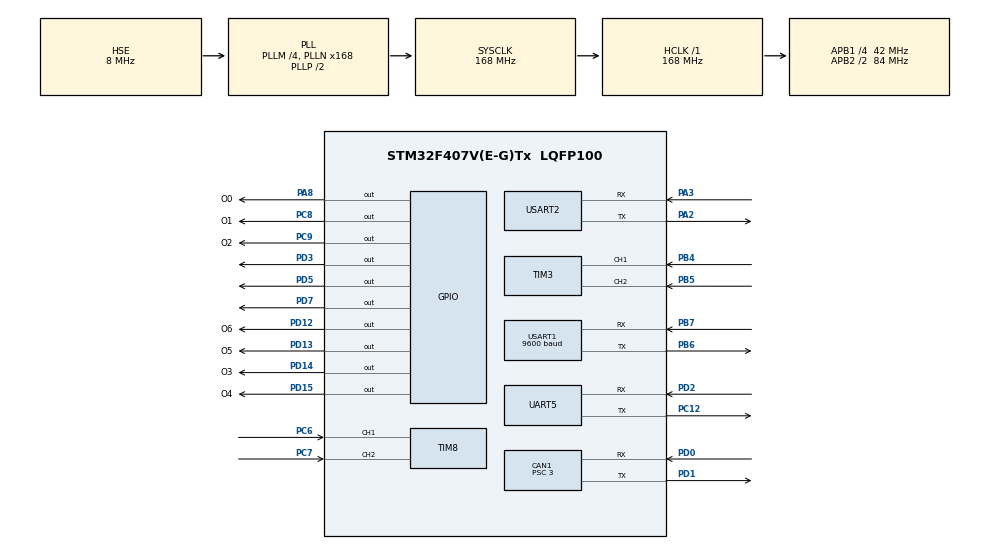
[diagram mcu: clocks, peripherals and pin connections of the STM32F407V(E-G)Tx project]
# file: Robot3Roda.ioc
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CAN1.BS1=CAN_BS1_11TQ
CAN1.BS2=CAN_BS2_2TQ
CAN1.CalculateBaudRate=1000000
CAN1.CalculateTimeBit=999.99
CAN1.CalculateTimeQuantum=71.42857142857143
CAN1.Prescaler=3
Dma.Request0=UART5_RX
Dma.Request1=USART2_RX
Dma.Request2=USART1_RX
Dma.UART5_RX.0.Direction=DMA_PERIPH_TO_MEMORY
Dma.UART5_RX.0.FIFOMode=DMA_FIFOMODE_DISABLE
Dma.UART5_RX.0.Instance=DMA1_Stream0
Dma.UART5_RX.0.MemDataAlignment=DMA_MDATAALIGN_BYTE
Dma.UART5_RX.0.MemInc=DMA_MINC_ENABLE
Dma.UART5_RX.0.Mode=DMA_NORMAL
Dma.UART5_RX.0.PeriphDataAlignment=DMA_PDATAALIGN_BYTE
Dma.UART5_RX.0.PeriphInc=DMA_PINC_DISABLE
Dma.UART5_RX.0.Priority=DMA_PRIORITY_LOW
Dma.USART1_RX.2.Direction=DMA_PERIPH_TO_MEMORY
Dma.USART1_RX.2.FIFOMode=DMA_FIFOMODE_DISABLE
Dma.USART1_RX.2.Instance=DMA2_Stream2
Dma.USART1_RX.2.MemDataAlignment=DMA_MDATAALIGN_BYTE
Dma.USART1_RX.2.MemInc=DMA_MINC_ENABLE
Dma.USART1_RX.2.Mode=DMA_CIRCULAR
Dma.USART1_RX.2.PeriphDataAlignment=DMA_PDATAALIGN_BYTE
Dma.USART1_RX.2.PeriphInc=DMA_PINC_DISABLE
Dma.USART1_RX.2.Priority=DMA_PRIORITY_LOW
Dma.USART2_RX.1.Direction=DMA_PERIPH_TO_MEMORY
Dma.USART2_RX.1.FIFOMode=DMA_FIFOMODE_DISABLE
Dma.USART2_RX.1.Instance=DMA1_Stream5
Dma.USART2_RX.1.MemDataAlignment=DMA_MDATAALIGN_BYTE
Dma.USART2_RX.1.MemInc=DMA_MINC_ENABLE
Dma.USART2_RX.1.Mode=DMA_CIRCULAR
Dma.USART2_RX.1.PeriphDataAlignment=DMA_PDATAALIGN_BYTE
Dma.USART2_RX.1.PeriphInc=DMA_PINC_DISABLE
Dma.USART2_RX.1.Priority=DMA_PRIORITY_LOW
Mcu.Family=STM32F4
Mcu.Name=STM32F407V(E-G)Tx
Mcu.Package=LQFP100
NVIC.CAN1_RX0_IRQn=true\:0\:0\:false\:false\:true\:true\:true
NVIC.DMA1_Stream0_IRQn=true\:0\:0\:false\:false\:true\:false\:true
NVIC.DMA1_Stream5_IRQn=true\:0\:0\:false\:false\:true\:false\:true
NVIC.DMA2_Stream2_IRQn=true\:0\:0\:false\:false\:true\:false\:true
NVIC.PriorityGroup=NVIC_PRIORITYGROUP_4
NVIC.TIM6_DAC_IRQn=true\:0\:0\:false\:false\:true\:true\:true
NVIC.UART5_IRQn=true\:0\:0\:false\:false\:true\:true\:true
NVIC.USART2_IRQn=true\:0\:0\:false\:false\:true\:true\:true
PA2.Mode=Asynchronous
PA2.Signal=USART2_TX
PA3.Mode=Asynchronous
PA3.Signal=USART2_RX
PA8.GPIO_Label=O0
PA8.Signal=GPIO_Output
PB4.Signal=S_TIM3_CH1
PB5.Signal=S_TIM3_CH2
PB6.Mode=Asynchronous
PB6.Signal=USART1_TX
PB7.Mode=Asynchronous
PB7.Signal=USART1_RX
PC12.Mode=Asynchronous
PC12.Signal=UART5_TX
PC6.Signal=S_TIM8_CH1
PC7.Signal=S_TIM8_CH2
PC8.GPIO_Label=O1
PC8.Signal=GPIO_Output
PC9.GPIO_Label=O2
PC9.Signal=GPIO_Output
PD0.Mode=CAN_Activate
PD0.Signal=CAN1_RX
PD1.Mode=CAN_Activate
PD1.Signal=CAN1_TX
PD12.GPIO_Label=O6
PD12.Signal=GPIO_Output
PD13.GPIO_Label=O5
PD13.Signal=GPIO_Output
PD14.GPIO_Label=O3
PD14.Signal=GPIO_Output
PD15.GPIO_Label=O4
PD15.Signal=GPIO_Output
PD2.Mode=Asynchronous
PD2.Signal=UART5_RX
PD3.Signal=GPIO_Output
PD5.Signal=GPIO_Output
PD7.Signal=GPIO_Output
PH0-OSC_IN.Mode=HSE-External-Oscillator
PH0-OSC_IN.Signal=RCC_OSC_IN
PH1-OSC_OUT.Mode=HSE-External-Oscillator
PH1-OSC_OUT.Signal=RCC_OSC_OUT
ProjectManager.HeapSize=0x200
ProjectManager.StackSize=0x400
ProjectManager.TargetToolchain=STM32CubeIDE
RCC.48MHZClocksFreq_Value=84000000
RCC.AHBFreq_Value=168000000
RCC.APB1CLKDivider=RCC_HCLK_DIV4
RCC.APB1Freq_Value=42000000
RCC.APB1TimFreq_Value=84000000
RCC.APB2CLKDivider=RCC_HCLK_DIV2
RCC.APB2Freq_Value=84000000
RCC.APB2TimFreq_Value=168000000
RCC.CortexFreq_Value=168000000
RCC.HCLKFreq_Value=168000000
RCC.HSE_VALUE=8000000
RCC.HSI_VALUE=16000000
RCC.LSE_VALUE=32768
RCC.PLLM=4
RCC.PLLN=168
RCC.PLLSourceVirtual=RCC_PLLSOURCE_HSE
RCC.SYSCLKFreq_VALUE=168000000
RCC.SYSCLKSource=RCC_SYSCLKSOURCE_PLLCLK
RCC.VCOOutputFreq_Value=336000000
SH.S_TIM3_CH1.0=TIM3_CH1,Encoder_Interface
SH.S_TIM3_CH2.0=TIM3_CH2,Encoder_Interface
SH.S_TIM8_CH1.0=TIM8_CH1,Encoder_Interface
SH.S_TIM8_CH2.0=TIM8_CH2,Encoder_Interface
TIM3.EncoderMode=TIM_ENCODERMODE_TI12
TIM6.Period=999
TIM6.Prescaler=83
TIM6.TIM_MasterOutputTrigger=TIM_TRGO_UPDATE
TIM8.EncoderMode=TIM_ENCODERMODE_TI12
UART5.VirtualMode=Asynchronous
USART1.BaudRate=9600
USART1.VirtualMode=VM_ASYNC
USART2.VirtualMode=VM_ASYNC
VP_TIM6_VS_ClockSourceINT.Mode=Enable_Timer
board=custom

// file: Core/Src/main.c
/* USER CODE BEGIN Header */
/**
  ******************************************************************************
  * @file           : main.c
  * @brief          : Main program body
  ******************************************************************************
  * @attention
  *
  * <h2><center>&copy; Copyright (c) 2021 STMicroelectronics.
  * All rights reserved.</center></h2>
  *
  * This software component is licensed by ST under BSD 3-Clause license,
  * the "License"; You may not use this file except in compliance with the
  * License. You may obtain a copy of the License at:
  *                        opensource.org/licenses/BSD-3-Clause
  *
  ******************************************************************************
  */
/* USER CODE END Header */
#include "main.h"
#include "can.h"
#include "dma.h"
#include "tim.h"
#include "usart.h"
#include "gpio.h"

/* USER CODE BEGIN Includes */
#include "stdio.h"
#include "stdlib.h"
#include "string.h"
#include "motor.h"
#include "odometry.h"
/* USER CODE END Includes */

/* USER CODE BEGIN PV */
CAN_FilterTypeDef sFilterConfig;
CAN_TxHeaderTypeDef TxMsg;
CAN_RxHeaderTypeDef RxMsg;

uint8_t CAN_Rx_Data[8];
uint32_t TxMailbox = 0;

Motor_TypeDef Roda[3]={
		{.MotorID=1},
		{.MotorID=3},
		{.MotorID=2}
};

uint32_t time_a,time_b;

short int encoder[2];

uint8_t gyroKirim;
uint8_t gyroTerima[8];

int16_t gyroBuff;
float gyroRAW;
float heading,offsetGyro;
uint8_t status_gyro;

char uart5_kirim[128],uart5_terima;
char uart1_kirim[12],uart1_terima;
char uart5_status;
char buff_PC[8];
char bitLamp;

int test_var;

int time_scale;

int speedLocal[3];

uint8_t statusControl;

int speedPC[3];
int time_lamp;

float pos_x,pos_y;

/* USER CODE END PV */

void SystemClock_Config(void);

int main(void)
{

  /* MCU Configuration--------------------------------------------------------*/

  /* Reset of all peripherals, Initializes the Flash interface and the Systick. */
  HAL_Init();

  /* Configure the system clock */
  SystemClock_Config();

  /* Initialize all configured peripherals */
  MX_GPIO_Init();
  MX_CAN1_Init();
  MX_TIM3_Init();
  MX_DMA_Init();
  MX_UART5_Init();
  MX_TIM8_Init();
  MX_USART2_UART_Init();
  MX_USART1_UART_Init();
  MX_TIM6_Init();
  /* USER CODE BEGIN 2 */
  HAL_GPIO_WritePin(GPIOD, GPIO_PIN_7, GPIO_PIN_SET);
  HAL_GPIO_WritePin(GPIOD, GPIO_PIN_5, GPIO_PIN_SET);
  HAL_GPIO_WritePin(GPIOD, GPIO_PIN_3, GPIO_PIN_SET);

  TxMsg.IDE = CAN_ID_STD;
  TxMsg.RTR = CAN_RTR_DATA;

  sFilterConfig.FilterBank = 0;
  sFilterConfig.FilterMode = CAN_FILTERMODE_IDMASK;
  sFilterConfig.FilterScale = CAN_FILTERSCALE_32BIT;

  sFilterConfig.FilterIdHigh = 0X0000;
  sFilterConfig.FilterIdLow = 0X0000;

  sFilterConfig.FilterMaskIdHigh = 0X0000;
  sFilterConfig.FilterMaskIdLow = 0X0000;
  sFilterConfig.FilterFIFOAssignment = CAN_RX_FIFO0;

  sFilterConfig.FilterActivation = ENABLE;
  sFilterConfig.SlaveStartFilterBank = 0;

  HAL_CAN_ConfigFilter(&hcan1, &sFilterConfig);
  HAL_CAN_Start(&hcan1);

  HAL_CAN_ActivateNotification(&hcan1, CAN_IT_RX_FIFO0_MSG_PENDING);

  HAL_Delay(2000);

  HAL_UART_Receive_DMA(&huart2, gyroTerima, 8);

  gyroKirim = 0xA5;
  HAL_UART_Transmit(&huart2, &gyroKirim, 1, 1000);
  gyroKirim = 0x54;
  HAL_UART_Transmit(&huart2, &gyroKirim, 1, 1000);
  HAL_Delay(1000);

  gyroKirim = 0xA5;
  HAL_UART_Transmit(&huart2, &gyroKirim, 1, 1000);
  gyroKirim = 0x55;
  HAL_UART_Transmit(&huart2, &gyroKirim, 1, 1000);
  HAL_Delay(1000);

  gyroKirim = 0xA5;
  HAL_UART_Transmit(&huart2, &gyroKirim, 1, 1000);
  gyroKirim = 0x52;
  HAL_UART_Transmit(&huart2, &gyroKirim, 1, 1000);
  HAL_Delay(100);

  HAL_UART_Receive_DMA(&huart1, (uint8_t*)&uart1_terima, 1);
  HAL_UART_Receive_DMA(&huart5, (uint8_t*)&uart5_terima, 1);

  HAL_TIM_Encoder_Start(&htim3, TIM_CHANNEL_ALL);
  HAL_TIM_Encoder_Start(&htim8, TIM_CHANNEL_ALL);

  HAL_TIM_Base_Start_IT(&htim6);

  /* USER CODE END 2 */

  /* Infinite loop */
  while (1)
  {

    /* USER CODE BEGIN 3 */

	  for(int i=0;i<1;i++)
	  {
		  MotorKontrolHandler(&Roda[i]);
		  HAL_Delay(1);
	  }
	  MotorReadVoltage(&Roda[0]);

	  HAL_Delay(1);

//	  encoder[0] = TIM3->CNT;
//	  encoder[1] = TIM8->CNT;

	  if(HAL_GetTick()-time_a>10)
	  {
		  time_a = HAL_GetTick();

/*
		  sprintf(uart1_kirim,"%d#1\n",test_var);
		  sprintf(uart5_kirim,"%d#5\n",test_var);
		  HAL_UART_Transmit(&huart1, (uint8_t*)uart1_kirim, strlen(uart1_kirim), 100);
		  HAL_UART_Transmit(&huart5, (uint8_t*)uart5_kirim, strlen(uart1_kirim), 100);

		  if(++test_var>100)
			  test_var = 0;
*/

		  sprintf(uart5_kirim,"%0.2f,%0.2f,%0.2f,%d\n",pos_x,
				  pos_y,heading,statusControl);
		  HAL_UART_Transmit(&huart5, (uint8_t*)uart5_kirim, strlen(uart5_kirim), 1000);

	  }

  }
  /* USER CODE END 3 */
}

void SystemClock_Config(void)
{
  RCC_OscInitTypeDef RCC_OscInitStruct = {0};
  RCC_ClkInitTypeDef RCC_ClkInitStruct = {0};

  /** Configure the main internal regulator output voltage
  */
  __HAL_RCC_PWR_CLK_ENABLE();
  __HAL_PWR_VOLTAGESCALING_CONFIG(PWR_REGULATOR_VOLTAGE_SCALE1);
  /** Initializes the RCC Oscillators according to the specified parameters
  * in the RCC_OscInitTypeDef structure.
  */
  RCC_OscInitStruct.OscillatorType = RCC_OSCILLATORTYPE_HSE;
  RCC_OscInitStruct.HSEState = RCC_HSE_ON;
  RCC_OscInitStruct.PLL.PLLState = RCC_PLL_ON;
  RCC_OscInitStruct.PLL.PLLSource = RCC_PLLSOURCE_HSE;
  RCC_OscInitStruct.PLL.PLLM = 4;
  RCC_OscInitStruct.PLL.PLLN = 168;
  RCC_OscInitStruct.PLL.PLLP = RCC_PLLP_DIV2;
  RCC_OscInitStruct.PLL.PLLQ = 4;
  if (HAL_RCC_OscConfig(&RCC_OscInitStruct) != HAL_OK)
  {
    Error_Handler();
  }
  /** Initializes the CPU, AHB and APB buses clocks
  */
  RCC_ClkInitStruct.ClockType = RCC_CLOCKTYPE_HCLK|RCC_CLOCKTYPE_SYSCLK
                              |RCC_CLOCKTYPE_PCLK1|RCC_CLOCKTYPE_PCLK2;
  RCC_ClkInitStruct.SYSCLKSource = RCC_SYSCLKSOURCE_PLLCLK;
  RCC_ClkInitStruct.AHBCLKDivider = RCC_SYSCLK_DIV1;
  RCC_ClkInitStruct.APB1CLKDivider = RCC_HCLK_DIV4;
  RCC_ClkInitStruct.APB2CLKDivider = RCC_HCLK_DIV2;

  if (HAL_RCC_ClockConfig(&RCC_ClkInitStruct, FLASH_LATENCY_5) != HAL_OK)
  {
    Error_Handler();
  }
}

/* USER CODE BEGIN 4 */
void HAL_CAN_RxFifo0MsgPendingCallback(CAN_HandleTypeDef *hcan)  //??????
{

	HAL_CAN_GetRxMessage(hcan, CAN_RX_FIFO0, &RxMsg, CAN_Rx_Data);

	MotorRxDataHandler(&Roda[0], &RxMsg, CAN_Rx_Data);

}

void HAL_UART_RxCpltCallback(UART_HandleTypeDef *huart)
{
	if(huart->Instance == USART2)
	{
		if(gyroTerima[0]==0xAA && gyroTerima[7]==0x55)
		{
			gyroBuff = ((int16_t)gyroTerima[1])<<8 | (int16_t)gyroTerima[2];
			gyroRAW  = (float)gyroBuff * 0.01;

			if(status_gyro==0)
			{
				offsetGyro = gyroRAW;
				status_gyro=1;
			}

			heading = gyroRAW - offsetGyro;

			if(heading>180)
				heading -= 360;
			else if(heading<-180)
				heading += 360;
		}
	}
	else if(huart->Instance == UART5)
	{
		if(uart5_terima=='m' && uart5_status == 0)
		{
			uart5_status = 1;
			HAL_UART_Receive_DMA(&huart5, (uint8_t*)&uart5_terima, 1);
		}
		else if(uart5_terima=='r' && uart5_status==1)
		{
			uart5_status = 2;
			HAL_UART_Receive_DMA(&huart5, (uint8_t*)&uart5_terima, 1);
		}
		else if(uart5_terima=='i' && uart5_status==2)
		{
			uart5_status =3;
			HAL_UART_Receive_DMA(&huart5,(uint8_t*)buff_PC,sizeof(buff_PC));
		}
		else if(uart5_status==3)
		{

			memcpy(&speedPC[0],buff_PC,2);
			memcpy(&speedPC[1],buff_PC+2,2);
			memcpy(&speedPC[2],buff_PC+4,2);
			bitLamp = buff_PC[6];
			statusControl = buff_PC[7];

			uart5_status = 0;
			HAL_UART_Receive_DMA(&huart5, (uint8_t*)&uart5_terima, 1);
		}
		else
		{
			uart5_status=0;
			HAL_UART_Receive_DMA(&huart5, (uint8_t*)&uart5_terima, 1);
		}

	}
}

void HAL_TIM_PeriodElapsedCallback(TIM_HandleTypeDef *htim)
{

	if(htim->Instance == TIM6)
	{

		OdomCalc(&htim3, &htim8, heading);
		pos_x = odomGlobalPosition[0]*-1;
		pos_y = odomGlobalPosition[1]*-1;

		if(++time_scale>10)
		{
			time_scale = 0;

			motorLocalSpeed(speedLocal[0], speedLocal[1], speedLocal[2]);
//			Roda[0].TargetSpeed = motorSpeedSP[0];
			Roda[1].TargetSpeed = motorSpeedSP[1];
			Roda[2].TargetSpeed = motorSpeedSP[2];

			switch(statusControl)
			{
			case 0:

				if(uart1_terima=='a')
				{
					speedLocal[0] = 0;
					speedLocal[1] = 30;
					speedLocal[2] = 0;
				}
				else if(uart1_terima=='c')
				{
					speedLocal[0] = -30;
					speedLocal[1] = 0;
					speedLocal[2] = 0;
				}
				else if(uart1_terima=='d')
				{
					speedLocal[0] = 0;
					speedLocal[1] = -30;
					speedLocal[2] = 0;
				}
				else if(uart1_terima=='b')
				{
					speedLocal[0] = 30;
					speedLocal[1] = 0;
					speedLocal[2] = 0;
				}
				else if(uart1_terima=='C')
				{
					speedLocal[0] = 0;
					speedLocal[1] = 0;
					speedLocal[2] = 20;
				}
				else if(uart1_terima=='B')
				{
					speedLocal[0] = 0;
					speedLocal[1] = 0;
					speedLocal[2] = -20;
				}
				else
				{
					speedLocal[0]=0;
					speedLocal[1]=0;
					speedLocal[2]=0;
				}

				if(++time_lamp>50)
				{
					time_lamp = 0;
					HAL_GPIO_TogglePin(O0_GPIO_Port, O0_Pin);
					HAL_GPIO_TogglePin(O1_GPIO_Port, O1_Pin);
					HAL_GPIO_TogglePin(O2_GPIO_Port, O2_Pin);
				}

				break;

			case 1:

				speedLocal[0] = speedPC[0];
				speedLocal[1] = speedPC[1];
				speedLocal[2] = speedPC[2];

				HAL_GPIO_WritePin(O0_GPIO_Port, O0_Pin, bitLamp & 0x01);
				HAL_GPIO_WritePin(O1_GPIO_Port, O1_Pin, (bitLamp>>1) & 0x01);
				HAL_GPIO_WritePin(O2_GPIO_Port, O2_Pin, (bitLamp>>2) & 0x01);
				HAL_GPIO_WritePin(O3_GPIO_Port, O3_Pin, (bitLamp>>3) & 0x01);
				HAL_GPIO_WritePin(O4_GPIO_Port, O4_Pin, (bitLamp>>4) & 0x01);
				HAL_GPIO_WritePin(O5_GPIO_Port, O5_Pin, (bitLamp>>5) & 0x01);
				HAL_GPIO_WritePin(O6_GPIO_Port, O6_Pin, (bitLamp>>6) & 0x01);

				break;
			}

		}

	}

}

/* USER CODE END 4 */

void Error_Handler(void)
{
  __disable_irq();
  while (1)
  {
  }
}

/************************ (C) COPYRIGHT STMicroelectronics *****END OF FILE****/
